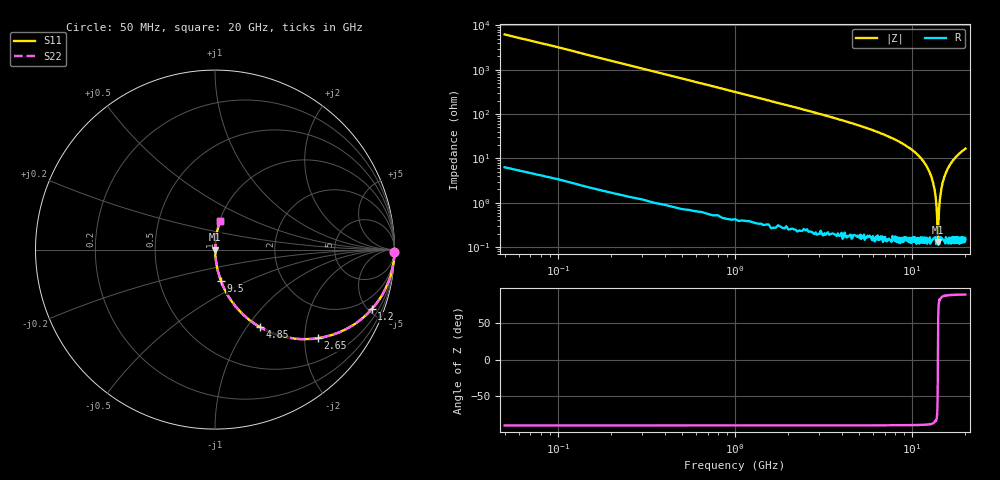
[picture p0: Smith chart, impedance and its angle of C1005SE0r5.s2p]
!	AVX	Thin	Film	Operation
!	Date:	March 2012
!	Description: Ultra-Miniature 01005 Size ACCU - P® Thin Film RF / Microwave Capacitor
!	Part Number:  C005YJ0R5ABSTR
!	Serial	Measurements
# MHZ S MA R 50
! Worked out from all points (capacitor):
!   400 points, 50 MHz to 20 GHz, reference 50 ohm
!   read as one part in series: C = 499 fF near 150 MHz
!   lowest |Z| = 130 mohm at 14 GHz (marker M1)
!   series resonance near 13.99 GHz, so ESL is about 260 pH
!   S11 on the Smith chart (normalised r, x): 50 MHz: open; 1.2 GHz: 1.01, -5.26; 2.65 GHz: 1.00, -2.32; 4.85 GHz: 1.00, -1.15; 9.5 GHz: 1.00, -0.36; 20 GHz: 1.00, +0.33
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50  1 -0.9  0.016 89.0  0.016 89.0  1 -0.9
150  0.999 -2.7  0.047 87.2  0.047 87.2  0.999 -2.7
400  0.992 -7.2  0.125 82.8  0.125 82.8  0.992 -7.2
750  0.973 -13.3  0.23 76.6  0.23 76.6  0.973 -13.3
1200  0.934 -20.8  0.355 69.1  0.355 69.1  0.934 -20.8
2650  0.756 -40.8  0.653 49.1  0.653 49.1  0.756 -40.8
3400  0.66 -48.6  0.75 41.3  0.75 41.3  0.66 -48.6
4850  0.499 -59.9  0.865 30.0  0.865 30.0  0.499 -59.9
6700  0.343 -69.7  0.938 20.1  0.938 20.1  0.343 -69.7
9500  0.177 -79.3  0.983 10.2  0.983 10.2  0.177 -79.3
10050  0.151 -80.8  0.987 8.7  0.987 8.7  0.151 -80.8
12350  0.057 -85.3  0.997 3.2  0.997 3.2  0.057 -85.3
13350  0.021 -84.9  0.998 1.2  0.998 1.2  0.021 -84.9
13750  0.007859 -79.0  0.999 0.4  0.999 0.4  0.007859 -79.0
14000  0.001506 17.9  0.999 -0.0  0.999 -0.0  0.001506 17.9
14100  0.003967 68.6  0.999 -0.2  0.999 -0.2  0.003967 68.6
14200  0.007058 77.9  0.999 -0.4  0.999 -0.4  0.007058 77.9
14350  0.012 82.3  0.998 -0.7  0.998 -0.7  0.012 82.3
14600  0.02 84.7  0.998 -1.1  0.998 -1.1  0.02 84.7
15400  0.044 85.6  0.998 -2.5  0.998 -2.5  0.044 85.6
16700  0.081 84.3  0.995 -4.6  0.995 -4.6  0.081 84.3
20000  0.164 80.1  0.985 -9.4  0.985 -9.4  0.164 80.1
